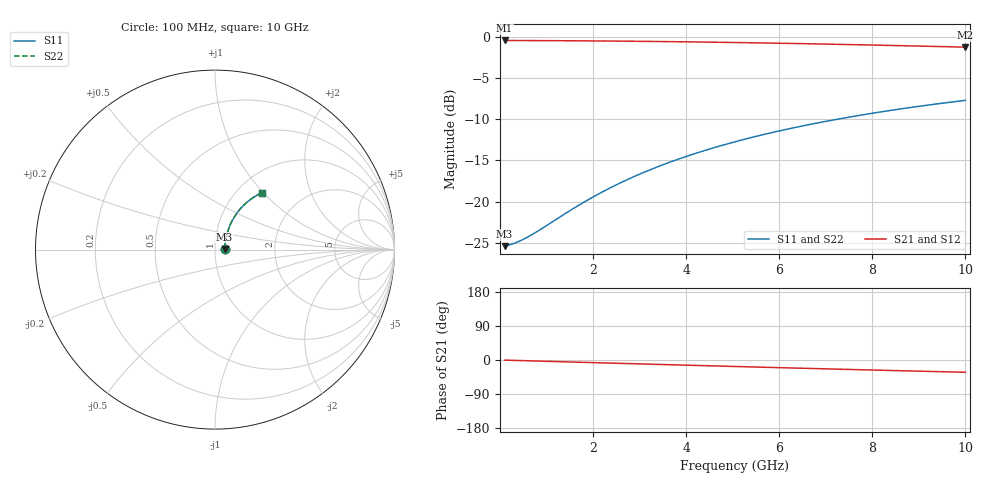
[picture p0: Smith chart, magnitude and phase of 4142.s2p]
# Hz S RI R 50.00
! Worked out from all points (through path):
!   100 points, 100 MHz to 10 GHz, reference 50 ohm
!   highest |S21| = -0.48 dB at 100 MHz (marker M1); lowest = -1.3 dB at 10 GHz (marker M2)
!   group delay of S21, straight-line fit = 9.04 ps
!   lowest |S11| = -25.4 dB at 100 MHz (marker M3), VSWR 1.11, Z = 55.6 + j0.476 ohm
!   |S11| at or under -10 dB: start of sweep to 7.273 GHz
!   |S22| runs from -25.4 to -7.7 dB; largest |S21 - S12| = 0
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1e8  0.0535 0.00426  0.9465 -0.0057  0.9465 -0.0057  0.0535 0.00426
3e8  0.0543 0.0128  0.9457 -0.0171  0.9457 -0.0171  0.0543 0.0128
4e8  0.0546 0.017  0.9453 -0.0228  0.9453 -0.0228  0.0546 0.017
6e8  0.0555 0.0255  0.9445 -0.0341  0.9445 -0.0341  0.0555 0.0255
8e8  0.0564 0.0339  0.9435 -0.0454  0.9435 -0.0454  0.0564 0.0339
1.5e9  0.0612 0.0632  0.9386 -0.0848  0.9386 -0.0848  0.0612 0.0632
1.8e9  0.0639 0.0755  0.9358 -0.1015  0.9358 -0.1015  0.0639 0.0755
2.2e9  0.0681 0.0918  0.9313 -0.1235  0.9313 -0.1235  0.0681 0.0918
2.6e9  0.0731 0.1078  0.9261 -0.1453  0.9261 -0.1453  0.0731 0.1078
3e9  0.0788 0.1235  0.9202 -0.1668  0.9202 -0.1668  0.0788 0.1235
3.4e9  0.0852 0.1388  0.9135 -0.1879  0.9135 -0.1879  0.0852 0.1388
3.8e9  0.0922 0.1538  0.9062 -0.2086  0.9062 -0.2086  0.0922 0.1538
4.2e9  0.0999 0.1683  0.8981 -0.2289  0.8981 -0.2289  0.0999 0.1683
4.6e9  0.1082 0.1823  0.8895 -0.2487  0.8895 -0.2487  0.1082 0.1823
5.1e9  0.1194 0.1991  0.8778 -0.2729  0.8778 -0.2729  0.1194 0.1991
5.5e9  0.1289 0.212  0.8678 -0.2916  0.8678 -0.2916  0.1289 0.212
5.9e9  0.139 0.2244  0.8572 -0.3097  0.8572 -0.3097  0.139 0.2244
6.7e9  0.1604 0.2473  0.8347 -0.3444  0.8347 -0.3444  0.1604 0.2473
7.5e9  0.1833 0.2679  0.8106 -0.3767  0.8106 -0.3767  0.1833 0.2679
8.4e9  0.2105 0.2882  0.7818 -0.4101  0.7818 -0.4101  0.2105 0.2882
9.2e9  0.2356 0.3036  0.7551 -0.4373  0.7551 -0.4373  0.2356 0.3036
1e10  0.2613 0.3165  0.7277 -0.4621  0.7277 -0.4621  0.2613 0.3165
